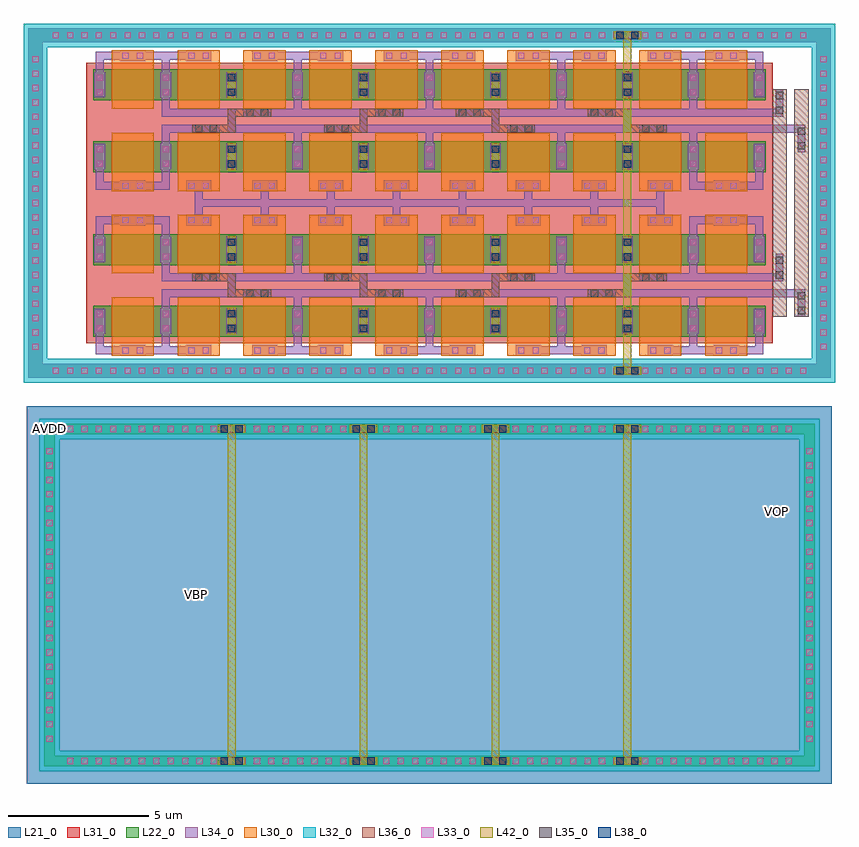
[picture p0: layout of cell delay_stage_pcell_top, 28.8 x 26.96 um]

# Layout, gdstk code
from math import pi, radians
import gdstk
lib = gdstk.Library(unit=1e-6, precision=5e-09)
def R(c, l, rs):  # rectangles x0, y0, x1, y1
    for r in rs: c.add(gdstk.rectangle(r[:2], r[2:], *l))
def A(c, l, x, y, w, h, nx, ny, dx, dy):  # array of equal rectangles
    R(c, l, [(x+i*dx, y+j*dy, x+i*dx+w, y+j*dy+h) for i in range(nx) for j in range(ny)])
L21_0 = (21, 0)
L22_0 = (22, 0)
L30_0 = (30, 0)
L31_0 = (31, 0)
L32_0 = (32, 0)
L33_0 = (33, 0)
L34_0 = (34, 0)
L35_0 = (35, 0)
L36_0 = (36, 0)
L38_0 = (38, 0)
L42_0 = (42, 0)

delay_stage_pcell_1_2_2 = lib.new_cell('delay_stage_pcell_1$2$2')
R(delay_stage_pcell_1_2_2, L22_0, [(0.17,0.3,0.63,1.4), (0.63,0.3,2.51,1.4), (2.51,0.3,2.97,1.4)])
R(delay_stage_pcell_1_2_2, L30_0, [(0.82,0,2.32,1.7)])
R(delay_stage_pcell_1_2_2, L33_0, [(0.29,0.485,0.51,0.705), (2.63,0.485,2.85,0.705), (0.29,0.995,0.51,1.215), (2.63,0.995,2.85,1.215)])
R(delay_stage_pcell_1_2_2, L34_0, [(0.21,0.405,0.59,1.295), (2.55,0.405,2.93,1.295)])

delay_stage_pcell_4_2 = lib.new_cell('delay_stage_pcell_4$2')
delay_stage_pcell_4_2.add(gdstk.Reference(delay_stage_pcell_1_2_2, (-0.17,0)))
delay_stage_pcell_4_2.add(gdstk.Reference(delay_stage_pcell_1_2_2, (2.17,0)))
delay_stage_pcell_4_2.add(gdstk.Reference(delay_stage_pcell_1_2_2, (4.51,0)))
delay_stage_pcell_4_2.add(gdstk.Reference(delay_stage_pcell_1_2_2, (6.85,0)))

delay_stage_pcell_4_4 = lib.new_cell('delay_stage_pcell_4_4')
R(delay_stage_pcell_4_4, L30_0, [(0.65,0,2.15,0.38), (0.65,0,2.15,0.38), (2.99,0,4.49,0.38), (2.99,0,4.49,0.38), (5.33,0,6.83,0.38), (5.33,0,6.83,0.38), (7.67,0,9.17,0.38), (7.67,0,9.17,0.38), (0.65,4.62,2.15,5), (0.65,4.62,2.15,5), (2.99,4.62,4.49,5), (2.99,4.62,4.49,5), (5.33,4.62,6.83,5), (5.33,4.62,6.83,5), (7.67,4.62,9.17,5), (7.67,4.62,9.17,5), (0.65,5.84,2.15,6.22), (0.65,5.84,2.15,6.22), (2.99,5.84,4.49,6.22), (2.99,5.84,4.49,6.22), (5.33,5.84,6.83,6.22), (5.33,5.84,6.83,6.22), (7.67,5.84,9.17,6.22), (7.67,5.84,9.17,6.22), (0.65,10.46,2.15,10.84), (0.65,10.46,2.15,10.84), (2.99,10.46,4.49,10.84), (2.99,10.46,4.49,10.84), (5.33,10.46,6.83,10.84), (5.33,10.46,6.83,10.84), (7.67,10.46,9.17,10.84), (7.67,10.46,9.17,10.84)])
R(delay_stage_pcell_4_4, L33_0, [(1.035,0.08,1.255,0.3), (1.035,0.08,1.255,0.3), (1.545,0.08,1.765,0.3), (1.545,0.08,1.765,0.3), (3.375,0.08,3.595,0.3), (3.375,0.08,3.595,0.3), (3.885,0.08,4.105,0.3), (3.885,0.08,4.105,0.3), (5.715,0.08,5.935,0.3), (5.715,0.08,5.935,0.3), (6.225,0.08,6.445,0.3), (6.225,0.08,6.445,0.3), (8.055,0.08,8.275,0.3), (8.055,0.08,8.275,0.3), (8.565,0.08,8.785,0.3), (8.565,0.08,8.785,0.3), (1.035,4.7,1.255,4.92), (1.035,4.7,1.255,4.92), (1.545,4.7,1.765,4.92), (1.545,4.7,1.765,4.92), (3.375,4.7,3.595,4.92), (3.375,4.7,3.595,4.92), (3.885,4.7,4.105,4.92), (3.885,4.7,4.105,4.92), (5.715,4.7,5.935,4.92), (5.715,4.7,5.935,4.92), (6.225,4.7,6.445,4.92), (6.225,4.7,6.445,4.92), (8.055,4.7,8.275,4.92), (8.055,4.7,8.275,4.92), (8.565,4.7,8.785,4.92), (8.565,4.7,8.785,4.92), (1.035,5.92,1.255,6.14), (1.035,5.92,1.255,6.14), (1.545,5.92,1.765,6.14), (1.545,5.92,1.765,6.14), (3.375,5.92,3.595,6.14), (3.375,5.92,3.595,6.14), (3.885,5.92,4.105,6.14), (3.885,5.92,4.105,6.14), (5.715,5.92,5.935,6.14), (5.715,5.92,5.935,6.14), (6.225,5.92,6.445,6.14), (6.225,5.92,6.445,6.14), (8.055,5.92,8.275,6.14), (8.055,5.92,8.275,6.14), (8.565,5.92,8.785,6.14), (8.565,5.92,8.785,6.14), (1.035,10.54,1.255,10.76), (1.035,10.54,1.255,10.76), (1.545,10.54,1.765,10.76), (1.545,10.54,1.765,10.76), (3.375,10.54,3.595,10.76), (3.375,10.54,3.595,10.76), (3.885,10.54,4.105,10.76), (3.885,10.54,4.105,10.76), (5.715,10.54,5.935,10.76), (5.715,10.54,5.935,10.76), (6.225,10.54,6.445,10.76), (6.225,10.54,6.445,10.76), (8.055,10.54,8.275,10.76), (8.055,10.54,8.275,10.76), (8.565,10.54,8.785,10.76), (8.565,10.54,8.785,10.76)])
R(delay_stage_pcell_4_4, L34_0, [(0.955,0,1.845,0.38), (3.295,0,4.185,0.38), (3.295,0,4.185,0.38), (5.635,0,6.525,0.38), (5.635,0,6.525,0.38), (7.975,0,8.865,0.38), (0.955,4.62,1.845,5), (0.955,4.62,1.845,5), (3.295,4.62,4.185,5), (3.295,4.62,4.185,5), (5.635,4.62,6.525,5), (5.635,4.62,6.525,5), (7.975,4.62,8.865,5), (0.955,5.84,1.845,6.22), (0.955,5.84,1.845,6.22), (3.295,5.84,4.185,6.22), (3.295,5.84,4.185,6.22), (5.635,5.84,6.525,6.22), (5.635,5.84,6.525,6.22), (7.975,5.84,8.865,6.22), (7.975,5.84,8.865,6.22), (0.955,10.46,1.845,10.84), (3.295,10.46,4.185,10.84), (3.295,10.46,4.185,10.84), (5.635,10.46,6.525,10.84), (5.635,10.46,6.525,10.84), (7.975,10.46,8.865,10.84)])
R(delay_stage_pcell_4_4, L35_0, [(2.44,0.84,2.7,1.1), (7.12,0.84,7.38,1.1), (2.44,1.36,2.7,1.62), (7.12,1.36,7.38,1.62), (1.27,2.09,1.53,2.35), (1.27,2.09,1.53,2.35), (1.79,2.09,2.05,2.35), (1.79,2.09,2.05,2.35), (5.95,2.09,6.21,2.35), (5.95,2.09,6.21,2.35), (6.47,2.09,6.73,2.35), (6.47,2.09,6.73,2.35), (3.09,2.65,3.35,2.91), (3.09,2.65,3.35,2.91), (3.61,2.65,3.87,2.91), (3.61,2.65,3.87,2.91), (7.77,2.65,8.03,2.91), (7.77,2.65,8.03,2.91), (8.29,2.65,8.55,2.91), (8.29,2.65,8.55,2.91), (2.44,3.38,2.7,3.64), (7.12,3.38,7.38,3.64), (2.44,3.9,2.7,4.16), (7.12,3.9,7.38,4.16), (2.44,6.68,2.7,6.94), (7.12,6.68,7.38,6.94), (2.44,7.2,2.7,7.46), (7.12,7.2,7.38,7.46), (3.09,7.93,3.35,8.19), (3.09,7.93,3.35,8.19), (3.61,7.93,3.87,8.19), (3.61,7.93,3.87,8.19), (7.77,7.93,8.03,8.19), (7.77,7.93,8.03,8.19), (8.29,7.93,8.55,8.19), (8.29,7.93,8.55,8.19), (1.27,8.49,1.53,8.75), (1.27,8.49,1.53,8.75), (1.79,8.49,2.05,8.75), (1.79,8.49,2.05,8.75), (5.95,8.49,6.21,8.75), (5.95,8.49,6.21,8.75), (6.47,8.49,6.73,8.75), (6.47,8.49,6.73,8.75), (2.44,9.22,2.7,9.48), (7.12,9.22,7.38,9.48), (2.44,9.74,2.7,10), (7.12,9.74,7.38,10)])
R(delay_stage_pcell_4_4, L38_0, [(2.44,0.84,2.7,1.1), (7.12,0.84,7.38,1.1), (2.44,1.36,2.7,1.62), (7.12,1.36,7.38,1.62), (2.44,3.38,2.7,3.64), (7.12,3.38,7.38,3.64), (2.44,3.9,2.7,4.16), (7.12,3.9,7.38,4.16), (2.44,6.68,2.7,6.94), (7.12,6.68,7.38,6.94), (2.44,7.2,2.7,7.46), (7.12,7.2,7.38,7.46), (2.44,9.22,2.7,9.48), (7.12,9.22,7.38,9.48), (2.44,9.74,2.7,10), (7.12,9.74,7.38,10)])
delay_stage_pcell_4_4.add(gdstk.FlexPath([(8.56,5.42),(0.23,5.42)], 0.28, ends="flush", simple_path=True, layer=34, datatype=0))  # L34_0
delay_stage_pcell_4_4.add(gdstk.FlexPath([(4.185,10.65),(5.635,10.65)], 0.28, ends="flush", simple_path=True, layer=34, datatype=0))  # L34_0
delay_stage_pcell_4_4.add(gdstk.FlexPath([(4.91,10.055),(4.91,10.51)], 0.28, ends="flush", simple_path=True, layer=34, datatype=0))  # L34_0
delay_stage_pcell_4_4.add(gdstk.FlexPath([(0.955,10.65),(0.23,10.65),(0.23,10.055)], 0.28, ends="flush", simple_path=True, layer=34, datatype=0))  # L34_0
delay_stage_pcell_4_4.add(gdstk.FlexPath([(8.865,10.65),(9.59,10.65),(9.59,10.055)], 0.28, ends="flush", simple_path=True, layer=34, datatype=0))  # L34_0
delay_stage_pcell_4_4.add(gdstk.FlexPath([(4.185,0.19),(5.635,0.19)], 0.28, ends="flush", simple_path=True, layer=34, datatype=0))  # L34_0
delay_stage_pcell_4_4.add(gdstk.FlexPath([(4.91,0.785),(4.91,0.33)], 0.28, ends="flush", simple_path=True, layer=34, datatype=0))  # L34_0
delay_stage_pcell_4_4.add(gdstk.FlexPath([(0.955,0.19),(0.23,0.19),(0.23,0.785)], 0.28, ends="flush", simple_path=True, layer=34, datatype=0))  # L34_0
delay_stage_pcell_4_4.add(gdstk.FlexPath([(8.865,0.19),(9.59,0.19),(9.59,0.785)], 0.28, ends="flush", simple_path=True, layer=34, datatype=0))  # L34_0
delay_stage_pcell_4_4.add(gdstk.FlexPath([(9.59,1.675),(9.59,2.22),(8.65,2.22)], 0.28, ends="flush", simple_path=True, layer=34, datatype=0))  # L34_0
delay_stage_pcell_4_4.add(gdstk.FlexPath([(9.59,1.675),(9.59,2.22),(8.65,2.22)], 0.28, ends="flush", simple_path=True, layer=34, datatype=0))  # L34_0
delay_stage_pcell_4_4.add(gdstk.FlexPath([(4.91,1.675),(4.91,2.08)], 0.28, ends="flush", simple_path=True, layer=34, datatype=0))  # L34_0
delay_stage_pcell_4_4.add(gdstk.FlexPath([(4.91,1.675),(4.91,2.08)], 0.28, ends="flush", simple_path=True, layer=34, datatype=0))  # L34_0
delay_stage_pcell_4_4.add(gdstk.FlexPath([(0.23,1.675),(0.23,2.22),(1.17,2.22)], 0.28, ends="flush", simple_path=True, layer=34, datatype=0))  # L34_0
delay_stage_pcell_4_4.add(gdstk.FlexPath([(0.23,1.675),(0.23,2.22),(1.17,2.22)], 0.28, ends="flush", simple_path=True, layer=34, datatype=0))  # L34_0
delay_stage_pcell_4_4.add(gdstk.FlexPath([(8.65,2.22),(7.25,2.22),(7.25,2.78),(5.85,2.78)], 0.28, ends="flush", simple_path=True, layer=34, datatype=0))  # L34_0
delay_stage_pcell_4_4.add(gdstk.FlexPath([(8.65,2.22),(7.25,2.22),(7.25,2.78),(5.85,2.78)], 0.28, ends="flush", simple_path=True, layer=34, datatype=0))  # L34_0
delay_stage_pcell_4_4.add(gdstk.FlexPath([(6.83,2.22),(5.85,2.22)], 0.28, ends="flush", simple_path=True, layer=34, datatype=0))  # L34_0
delay_stage_pcell_4_4.add(gdstk.FlexPath([(6.83,2.22),(5.85,2.22)], 0.28, ends="flush", simple_path=True, layer=34, datatype=0))  # L34_0
delay_stage_pcell_4_4.add(gdstk.FlexPath([(3.97,2.22),(5.85,2.22)], 0.28, ends="flush", simple_path=True, layer=34, datatype=0))  # L34_0
delay_stage_pcell_4_4.add(gdstk.FlexPath([(3.97,2.22),(5.85,2.22)], 0.28, ends="flush", simple_path=True, layer=34, datatype=0))  # L34_0
delay_stage_pcell_4_4.add(gdstk.FlexPath([(3.97,2.22),(2.57,2.22),(2.57,2.78),(1.17,2.78)], 0.28, ends="flush", simple_path=True, layer=34, datatype=0))  # L34_0
delay_stage_pcell_4_4.add(gdstk.FlexPath([(3.97,2.22),(2.57,2.22),(2.57,2.78),(1.17,2.78)], 0.28, ends="flush", simple_path=True, layer=34, datatype=0))  # L34_0
delay_stage_pcell_4_4.add(gdstk.FlexPath([(2.15,2.22),(1.17,2.22)], 0.28, ends="flush", simple_path=True, layer=34, datatype=0))  # L34_0
delay_stage_pcell_4_4.add(gdstk.FlexPath([(2.15,2.22),(1.17,2.22)], 0.28, ends="flush", simple_path=True, layer=34, datatype=0))  # L34_0
delay_stage_pcell_4_4.add(gdstk.FlexPath([(8.65,2.78),(7.67,2.78)], 0.28, ends="flush", simple_path=True, layer=34, datatype=0))  # L34_0
delay_stage_pcell_4_4.add(gdstk.FlexPath([(8.65,2.78),(7.67,2.78)], 0.28, ends="flush", simple_path=True, layer=34, datatype=0))  # L34_0
delay_stage_pcell_4_4.add(gdstk.FlexPath([(3.97,2.78),(5.85,2.78)], 0.28, ends="flush", simple_path=True, layer=34, datatype=0))  # L34_0
delay_stage_pcell_4_4.add(gdstk.FlexPath([(3.97,2.78),(5.85,2.78)], 0.28, ends="flush", simple_path=True, layer=34, datatype=0))  # L34_0
delay_stage_pcell_4_4.add(gdstk.FlexPath([(3.97,2.78),(2.99,2.78)], 0.28, ends="flush", simple_path=True, layer=34, datatype=0))  # L34_0
delay_stage_pcell_4_4.add(gdstk.FlexPath([(3.97,2.78),(2.99,2.78)], 0.28, ends="flush", simple_path=True, layer=34, datatype=0))  # L34_0
delay_stage_pcell_4_4.add(gdstk.FlexPath([(1.17,2.78),(0.23,2.78),(0.23,3.325)], 0.28, ends="flush", simple_path=True, layer=34, datatype=0))  # L34_0
delay_stage_pcell_4_4.add(gdstk.FlexPath([(1.17,2.78),(0.23,2.78),(0.23,3.325)], 0.28, ends="flush", simple_path=True, layer=34, datatype=0))  # L34_0
delay_stage_pcell_4_4.add(gdstk.FlexPath([(9.59,3.325),(9.59,2.78),(8.65,2.78)], 0.28, ends="flush", simple_path=True, layer=34, datatype=0))  # L34_0
delay_stage_pcell_4_4.add(gdstk.FlexPath([(9.59,3.325),(9.59,2.78),(8.65,2.78)], 0.28, ends="flush", simple_path=True, layer=34, datatype=0))  # L34_0
delay_stage_pcell_4_4.add(gdstk.FlexPath([(4.91,3.325),(4.91,2.92)], 0.28, ends="flush", simple_path=True, layer=34, datatype=0))  # L34_0
delay_stage_pcell_4_4.add(gdstk.FlexPath([(4.91,3.325),(4.91,2.92)], 0.28, ends="flush", simple_path=True, layer=34, datatype=0))  # L34_0
delay_stage_pcell_4_4.add(gdstk.FlexPath([(9.59,7.515),(9.59,8.06),(8.65,8.06)], 0.28, ends="flush", simple_path=True, layer=34, datatype=0))  # L34_0
delay_stage_pcell_4_4.add(gdstk.FlexPath([(9.59,9.165),(9.59,8.62),(8.65,8.62)], 0.28, ends="flush", simple_path=True, layer=34, datatype=0))  # L34_0
delay_stage_pcell_4_4.add(gdstk.FlexPath([(4.91,9.165),(4.91,8.76)], 0.28, ends="flush", simple_path=True, layer=34, datatype=0))  # L34_0
delay_stage_pcell_4_4.add(gdstk.FlexPath([(4.91,7.515),(4.91,7.92)], 0.28, ends="flush", simple_path=True, layer=34, datatype=0))  # L34_0
delay_stage_pcell_4_4.add(gdstk.FlexPath([(1.17,8.06),(0.23,8.06),(0.23,7.515)], 0.28, ends="flush", simple_path=True, layer=34, datatype=0))  # L34_0
delay_stage_pcell_4_4.add(gdstk.FlexPath([(0.23,9.165),(0.23,8.62),(1.17,8.62)], 0.28, ends="flush", simple_path=True, layer=34, datatype=0))  # L34_0
delay_stage_pcell_4_4.add(gdstk.FlexPath([(8.65,8.62),(7.25,8.62),(7.25,8.06),(5.85,8.06)], 0.28, ends="flush", simple_path=True, layer=34, datatype=0))  # L34_0
delay_stage_pcell_4_4.add(gdstk.FlexPath([(3.97,8.62),(2.57,8.62),(2.57,8.06),(1.17,8.06)], 0.28, ends="flush", simple_path=True, layer=34, datatype=0))  # L34_0
delay_stage_pcell_4_4.add(gdstk.FlexPath([(2.15,8.62),(1.17,8.62)], 0.28, ends="flush", simple_path=True, layer=34, datatype=0))  # L34_0
delay_stage_pcell_4_4.add(gdstk.FlexPath([(3.97,8.06),(2.99,8.06)], 0.28, ends="flush", simple_path=True, layer=34, datatype=0))  # L34_0
delay_stage_pcell_4_4.add(gdstk.FlexPath([(8.65,8.06),(7.67,8.06)], 0.28, ends="flush", simple_path=True, layer=34, datatype=0))  # L34_0
delay_stage_pcell_4_4.add(gdstk.FlexPath([(6.83,8.62),(5.85,8.62)], 0.28, ends="flush", simple_path=True, layer=34, datatype=0))  # L34_0
delay_stage_pcell_4_4.add(gdstk.FlexPath([(3.97,8.62),(5.85,8.62)], 0.28, ends="flush", simple_path=True, layer=34, datatype=0))  # L34_0
delay_stage_pcell_4_4.add(gdstk.FlexPath([(3.97,8.06),(5.85,8.06)], 0.28, ends="flush", simple_path=True, layer=34, datatype=0))  # L34_0
delay_stage_pcell_4_4.add(gdstk.FlexPath([(3.97,8.06),(5.85,8.06)], 0.28, ends="flush", simple_path=True, layer=34, datatype=0))  # L34_0
delay_stage_pcell_4_4.add(gdstk.FlexPath([(3.97,8.62),(5.85,8.62)], 0.28, ends="flush", simple_path=True, layer=34, datatype=0))  # L34_0
delay_stage_pcell_4_4.add(gdstk.FlexPath([(6.83,8.62),(5.85,8.62)], 0.28, ends="flush", simple_path=True, layer=34, datatype=0))  # L34_0
delay_stage_pcell_4_4.add(gdstk.FlexPath([(8.65,8.06),(7.67,8.06)], 0.28, ends="flush", simple_path=True, layer=34, datatype=0))  # L34_0
delay_stage_pcell_4_4.add(gdstk.FlexPath([(3.97,8.06),(2.99,8.06)], 0.28, ends="flush", simple_path=True, layer=34, datatype=0))  # L34_0
delay_stage_pcell_4_4.add(gdstk.FlexPath([(2.15,8.62),(1.17,8.62)], 0.28, ends="flush", simple_path=True, layer=34, datatype=0))  # L34_0
delay_stage_pcell_4_4.add(gdstk.FlexPath([(3.97,8.62),(2.57,8.62),(2.57,8.06),(1.17,8.06)], 0.28, ends="flush", simple_path=True, layer=34, datatype=0))  # L34_0
delay_stage_pcell_4_4.add(gdstk.FlexPath([(8.65,8.62),(7.25,8.62),(7.25,8.06),(5.85,8.06)], 0.28, ends="flush", simple_path=True, layer=34, datatype=0))  # L34_0
delay_stage_pcell_4_4.add(gdstk.FlexPath([(0.23,9.165),(0.23,8.62),(1.17,8.62)], 0.28, ends="flush", simple_path=True, layer=34, datatype=0))  # L34_0
delay_stage_pcell_4_4.add(gdstk.FlexPath([(1.17,8.06),(0.23,8.06),(0.23,7.515)], 0.28, ends="flush", simple_path=True, layer=34, datatype=0))  # L34_0
delay_stage_pcell_4_4.add(gdstk.FlexPath([(4.91,7.515),(4.91,7.92)], 0.28, ends="flush", simple_path=True, layer=34, datatype=0))  # L34_0
delay_stage_pcell_4_4.add(gdstk.FlexPath([(4.91,9.165),(4.91,8.76)], 0.28, ends="flush", simple_path=True, layer=34, datatype=0))  # L34_0
delay_stage_pcell_4_4.add(gdstk.FlexPath([(9.59,9.165),(9.59,8.62),(8.65,8.62)], 0.28, ends="flush", simple_path=True, layer=34, datatype=0))  # L34_0
delay_stage_pcell_4_4.add(gdstk.FlexPath([(9.59,7.515),(9.59,8.06),(8.65,8.06)], 0.28, ends="flush", simple_path=True, layer=34, datatype=0))  # L34_0
delay_stage_pcell_4_4.add(gdstk.FlexPath([(8.42,5),(8.42,5.28)], 0.28, ends="flush", simple_path=True, layer=34, datatype=0))  # L34_0
delay_stage_pcell_4_4.add(gdstk.FlexPath([(8.42,5.84),(8.42,5.56)], 0.28, ends="flush", simple_path=True, layer=34, datatype=0))  # L34_0
delay_stage_pcell_4_4.add(gdstk.FlexPath([(6.08,5),(6.08,5.28)], 0.28, ends="flush", simple_path=True, layer=34, datatype=0))  # L34_0
delay_stage_pcell_4_4.add(gdstk.FlexPath([(6.08,5.84),(6.08,5.56)], 0.28, ends="flush", simple_path=True, layer=34, datatype=0))  # L34_0
delay_stage_pcell_4_4.add(gdstk.FlexPath([(3.74,5),(3.74,5.28)], 0.28, ends="flush", simple_path=True, layer=34, datatype=0))  # L34_0
delay_stage_pcell_4_4.add(gdstk.FlexPath([(3.74,5.84),(3.74,5.56)], 0.28, ends="flush", simple_path=True, layer=34, datatype=0))  # L34_0
delay_stage_pcell_4_4.add(gdstk.FlexPath([(1.4,5),(1.4,5.28)], 0.28, ends="flush", simple_path=True, layer=34, datatype=0))  # L34_0
delay_stage_pcell_4_4.add(gdstk.FlexPath([(1.4,5.84),(1.4,5.56)], 0.28, ends="flush", simple_path=True, layer=34, datatype=0))  # L34_0
delay_stage_pcell_4_4.add(gdstk.FlexPath([(8.65,2.78),(7.25,2.78),(7.25,2.22),(5.85,2.22)], 0.28, ends="flush", simple_path=True, layer=36, datatype=0))  # L36_0
delay_stage_pcell_4_4.add(gdstk.FlexPath([(8.65,2.78),(7.25,2.78),(7.25,2.22),(5.85,2.22)], 0.28, ends="flush", simple_path=True, layer=36, datatype=0))  # L36_0
delay_stage_pcell_4_4.add(gdstk.FlexPath([(3.97,2.78),(2.57,2.78),(2.57,2.22),(1.17,2.22)], 0.28, ends="flush", simple_path=True, layer=36, datatype=0))  # L36_0
delay_stage_pcell_4_4.add(gdstk.FlexPath([(3.97,2.78),(2.57,2.78),(2.57,2.22),(1.17,2.22)], 0.28, ends="flush", simple_path=True, layer=36, datatype=0))  # L36_0
delay_stage_pcell_4_4.add(gdstk.FlexPath([(3.97,8.06),(2.57,8.06),(2.57,8.62),(1.17,8.62)], 0.28, ends="flush", simple_path=True, layer=36, datatype=0))  # L36_0
delay_stage_pcell_4_4.add(gdstk.FlexPath([(8.65,8.06),(7.25,8.06),(7.25,8.62),(5.85,8.62)], 0.28, ends="flush", simple_path=True, layer=36, datatype=0))  # L36_0
delay_stage_pcell_4_4.add(gdstk.FlexPath([(8.65,8.06),(7.25,8.06),(7.25,8.62),(5.85,8.62)], 0.28, ends="flush", simple_path=True, layer=36, datatype=0))  # L36_0
delay_stage_pcell_4_4.add(gdstk.FlexPath([(3.97,8.06),(2.57,8.06),(2.57,8.62),(1.17,8.62)], 0.28, ends="flush", simple_path=True, layer=36, datatype=0))  # L36_0
delay_stage_pcell_4_4.add(gdstk.FlexPath([(7.25,6.58),(7.25,7.56)], 0.28, ends="flush", simple_path=True, layer=36, datatype=0))  # L36_0
delay_stage_pcell_4_4.add(gdstk.FlexPath([(7.25,9.12),(7.25,10.1)], 0.28, ends="flush", simple_path=True, layer=36, datatype=0))  # L36_0
delay_stage_pcell_4_4.add(gdstk.FlexPath([(2.57,6.58),(2.57,7.56)], 0.28, ends="flush", simple_path=True, layer=36, datatype=0))  # L36_0
delay_stage_pcell_4_4.add(gdstk.FlexPath([(7.25,3.28),(7.25,4.26)], 0.28, ends="flush", simple_path=True, layer=36, datatype=0))  # L36_0
delay_stage_pcell_4_4.add(gdstk.FlexPath([(2.57,3.28),(2.57,4.26)], 0.28, ends="flush", simple_path=True, layer=36, datatype=0))  # L36_0
delay_stage_pcell_4_4.add(gdstk.FlexPath([(7.25,0.74),(7.25,1.72)], 0.28, ends="flush", simple_path=True, layer=36, datatype=0))  # L36_0
delay_stage_pcell_4_4.add(gdstk.FlexPath([(2.57,0.74),(2.57,1.72)], 0.28, ends="flush", simple_path=True, layer=36, datatype=0))  # L36_0
delay_stage_pcell_4_4.add(gdstk.FlexPath([(2.57,9.12),(2.57,10.1)], 0.28, ends="flush", simple_path=True, layer=36, datatype=0))  # L36_0
delay_stage_pcell_4_4.add(gdstk.FlexPath([(7.25,6.58),(7.25,7.56)], 0.28, ends="flush", simple_path=True, layer=42, datatype=0))  # L42_0
delay_stage_pcell_4_4.add(gdstk.FlexPath([(7.25,9.12),(7.25,10.1)], 0.28, ends="flush", simple_path=True, layer=42, datatype=0))  # L42_0
delay_stage_pcell_4_4.add(gdstk.FlexPath([(2.57,6.58),(2.57,7.56)], 0.28, ends="flush", simple_path=True, layer=42, datatype=0))  # L42_0
delay_stage_pcell_4_4.add(gdstk.FlexPath([(7.25,3.28),(7.25,4.26)], 0.28, ends="flush", simple_path=True, layer=42, datatype=0))  # L42_0
delay_stage_pcell_4_4.add(gdstk.FlexPath([(2.57,3.28),(2.57,4.26)], 0.28, ends="flush", simple_path=True, layer=42, datatype=0))  # L42_0
delay_stage_pcell_4_4.add(gdstk.FlexPath([(7.25,0.74),(7.25,1.72)], 0.28, ends="flush", simple_path=True, layer=42, datatype=0))  # L42_0
delay_stage_pcell_4_4.add(gdstk.FlexPath([(2.57,0.74),(2.57,1.72)], 0.28, ends="flush", simple_path=True, layer=42, datatype=0))  # L42_0
delay_stage_pcell_4_4.add(gdstk.FlexPath([(2.57,9.12),(2.57,10.1)], 0.28, ends="flush", simple_path=True, layer=42, datatype=0))  # L42_0
delay_stage_pcell_4_4.add(gdstk.Reference(delay_stage_pcell_4_2, (9.82,7.92), rotation=pi))
delay_stage_pcell_4_4.add(gdstk.Reference(delay_stage_pcell_4_2, (9.82,2.08), rotation=pi))
delay_stage_pcell_4_4.add(gdstk.Reference(delay_stage_pcell_4_2, (9.82,8.76), rotation=pi, x_reflection=True))
delay_stage_pcell_4_4.add(gdstk.Reference(delay_stage_pcell_4_2, (9.82,2.92), rotation=pi, x_reflection=True))

delay_stage_pcell_1_1 = lib.new_cell('delay_stage_pcell_1$1')
R(delay_stage_pcell_1_1, L22_0, [(0.17,0.3,0.63,1.4), (0.63,0.3,2.51,1.4), (2.51,0.3,2.97,1.4)])
R(delay_stage_pcell_1_1, L30_0, [(0.82,0,2.32,1.7)])
R(delay_stage_pcell_1_1, L33_0, [(0.29,0.485,0.51,0.705), (2.63,0.485,2.85,0.705), (0.29,0.995,0.51,1.215), (2.63,0.995,2.85,1.215)])
R(delay_stage_pcell_1_1, L34_0, [(0.21,0.405,0.59,1.295), (2.55,0.405,2.93,1.295)])

delay_stage_pcell_1_4 = lib.new_cell('delay_stage_pcell_1_4')
R(delay_stage_pcell_1_4, L30_0, [(0.65,0,2.15,0.38), (0.65,4.62,2.15,5), (0.65,5.84,2.15,6.22), (0.65,10.46,2.15,10.84)])
R(delay_stage_pcell_1_4, L33_0, [(1.035,0.08,1.255,0.3), (1.545,0.08,1.765,0.3), (1.035,4.7,1.255,4.92), (1.545,4.7,1.765,4.92), (1.035,5.92,1.255,6.14), (1.545,5.92,1.765,6.14), (1.035,10.54,1.255,10.76), (1.545,10.54,1.765,10.76)])
R(delay_stage_pcell_1_4, L34_0, [(0.955,0,1.845,0.38), (0.955,4.62,1.845,5), (0.955,5.84,1.845,6.22), (0.955,10.46,1.845,10.84)])
delay_stage_pcell_1_4.add(gdstk.FlexPath([(2.57,10.055),(2.57,10.65),(0.23,10.65),(0.23,10.055)], 0.28, ends="flush", simple_path=True, layer=34, datatype=0))  # L34_0
delay_stage_pcell_1_4.add(gdstk.FlexPath([(2.57,0.785),(2.57,0.19),(0.23,0.19),(0.23,0.785)], 0.28, ends="flush", simple_path=True, layer=34, datatype=0))  # L34_0
delay_stage_pcell_1_4.add(gdstk.FlexPath([(2.57,6.625),(2.57,6.03),(0.23,6.03),(0.23,6.625)], 0.28, ends="flush", simple_path=True, layer=34, datatype=0))  # L34_0
delay_stage_pcell_1_4.add(gdstk.FlexPath([(2.57,4.215),(2.57,4.81),(0.23,4.81),(0.23,4.215)], 0.28, ends="flush", simple_path=True, layer=34, datatype=0))  # L34_0
delay_stage_pcell_1_4.add(gdstk.Reference(delay_stage_pcell_1_1, (-0.17,6.22)))
delay_stage_pcell_1_4.add(gdstk.Reference(delay_stage_pcell_1_1, (-0.17,0.38)))
delay_stage_pcell_1_4.add(gdstk.Reference(delay_stage_pcell_1_1, (-0.17,2.92)))
delay_stage_pcell_1_4.add(gdstk.Reference(delay_stage_pcell_1_1, (-0.17,8.76)))

m1_m2 = lib.new_cell('M1_M2')
R(m1_m2, L35_0, [(0.1,0.01,0.36,0.27), (0.62,0.01,0.88,0.27)])
m1_m2.add(gdstk.FlexPath([(0,0.14),(0.98,0.14)], 0.28, ends="flush", simple_path=True, layer=34, datatype=0))  # L34_0
m1_m2.add(gdstk.FlexPath([(0,0.14),(0.98,0.14)], 0.28, ends="flush", simple_path=True, layer=36, datatype=0))  # L36_0

delay_stage_pcell_top = lib.new_cell('delay_stage_pcell_top')
R(delay_stage_pcell_top, L21_0, [(0,0,28.565,13.38)])
R(delay_stage_pcell_top, L31_0, [(2.115,15.615,26.455,25.575)])
A(delay_stage_pcell_top, L33_0, 1.425, 0.69, 0.22, 0.22, 51, 2, 0.51, 11.78)
A(delay_stage_pcell_top, L33_0, 0.695, 1.48, 0.22, 0.22, 1, 21, 0, 0.51)
A(delay_stage_pcell_top, L33_0, 27.655, 1.48, 0.22, 0.22, 1, 21, 0, 0.51)
A(delay_stage_pcell_top, L33_0, 0.915, 14.535, 0.22, 0.22, 53, 2, 0.51, 11.9)
A(delay_stage_pcell_top, L33_0, 0.195, 15.385, 0.22, 0.22, 1, 21, 0, 0.51)
A(delay_stage_pcell_top, L33_0, 28.155, 15.385, 0.22, 0.22, 1, 21, 0, 0.51)
R(delay_stage_pcell_top, L35_0, [(6.875,0.67,7.135,0.93), (7.395,0.67,7.655,0.93), (11.555,0.67,11.815,0.93), (12.075,0.67,12.335,0.93), (16.235,0.67,16.495,0.93), (16.755,0.67,17.015,0.93), (20.915,0.67,21.175,0.93), (21.435,0.67,21.695,0.93), (6.875,12.45,7.135,12.71), (7.395,12.45,7.655,12.71), (11.555,12.45,11.815,12.71), (12.075,12.45,12.335,12.71), (16.235,12.45,16.495,12.71), (16.755,12.45,17.015,12.71), (20.915,12.45,21.175,12.71), (21.435,12.45,21.695,12.71), (20.915,14.515,21.175,14.775), (21.435,14.515,21.695,14.775), (27.355,16.655,27.615,16.915), (27.355,16.655,27.615,16.915), (27.355,17.175,27.615,17.435), (27.355,17.175,27.615,17.435), (26.575,17.915,26.835,18.175), (26.575,17.915,26.835,18.175), (26.575,18.435,26.835,18.695), (26.575,18.435,26.835,18.695), (27.355,22.495,27.615,22.755), (27.355,22.495,27.615,22.755), (27.355,23.015,27.615,23.275), (27.355,23.015,27.615,23.275), (20.915,26.415,21.175,26.675), (21.435,26.415,21.695,26.675)])
R(delay_stage_pcell_top, L38_0, [(6.875,0.67,7.135,0.93), (7.395,0.67,7.655,0.93), (11.555,0.67,11.815,0.93), (12.075,0.67,12.335,0.93), (16.235,0.67,16.495,0.93), (16.755,0.67,17.015,0.93), (20.915,0.67,21.175,0.93), (21.435,0.67,21.695,0.93), (6.875,12.45,7.135,12.71), (7.395,12.45,7.655,12.71), (11.555,12.45,11.815,12.71), (12.075,12.45,12.335,12.71), (16.235,12.45,16.495,12.71), (16.755,12.45,17.015,12.71), (20.915,12.45,21.175,12.71), (21.435,12.45,21.695,12.71), (20.915,14.515,21.175,14.775), (21.435,14.515,21.695,14.775), (20.915,26.415,21.175,26.675), (21.435,26.415,21.695,26.675)])
delay_stage_pcell_top.add(gdstk.FlexPath([(23.785,17.955),(26.735,17.955)], 0.28, ends="flush", simple_path=True, layer=34, datatype=0))  # L34_0
delay_stage_pcell_top.add(gdstk.FlexPath([(23.785,17.395),(27.345,17.395)], 0.28, ends="flush", simple_path=True, layer=34, datatype=0))  # L34_0
delay_stage_pcell_top.add(gdstk.FlexPath([(27.485,16.555),(27.485,17.535)], 0.28, ends="flush", simple_path=True, layer=34, datatype=0))  # L34_0
delay_stage_pcell_top.add(gdstk.FlexPath([(27.485,16.555),(27.485,17.535)], 0.28, ends="flush", simple_path=True, layer=34, datatype=0))  # L34_0
delay_stage_pcell_top.add(gdstk.FlexPath([(26.705,17.815),(26.705,18.795)], 0.28, ends="flush", simple_path=True, layer=34, datatype=0))  # L34_0
delay_stage_pcell_top.add(gdstk.FlexPath([(26.705,17.815),(26.705,18.795)], 0.28, ends="flush", simple_path=True, layer=34, datatype=0))  # L34_0
delay_stage_pcell_top.add(gdstk.FlexPath([(23.785,23.795),(26.565,23.795)], 0.28, ends="flush", simple_path=True, layer=34, datatype=0))  # L34_0
delay_stage_pcell_top.add(gdstk.FlexPath([(23.785,23.235),(27.345,23.235)], 0.28, ends="flush", simple_path=True, layer=34, datatype=0))  # L34_0
delay_stage_pcell_top.add(gdstk.FlexPath([(27.485,22.395),(27.485,23.375)], 0.28, ends="flush", simple_path=True, layer=34, datatype=0))  # L34_0
delay_stage_pcell_top.add(gdstk.FlexPath([(27.485,22.395),(27.485,23.375)], 0.28, ends="flush", simple_path=True, layer=34, datatype=0))  # L34_0
delay_stage_pcell_top.add(gdstk.FlexPath([(28.265,26.795),(28.265,14.645),(0.305,14.645),(0.305,26.545),(28.015,26.545)], 0.5, ends="flush", simple_path=True, layer=34, datatype=0))  # L34_0
delay_stage_pcell_top.add(gdstk.FlexPath([(28.265,26.795),(28.265,14.645),(0.305,14.645),(0.305,26.545),(28.015,26.545)], 0.5, ends="flush", simple_path=True, layer=22, datatype=0))  # L22_0
delay_stage_pcell_top.add(gdstk.FlexPath([(27.765,12.77),(27.765,0.8),(0.805,0.8),(0.805,12.58),(27.575,12.58)], 0.38, ends="flush", simple_path=True, layer=22, datatype=0))  # L22_0
delay_stage_pcell_top.add(gdstk.FlexPath([(26.705,16.555),(26.705,24.635)], 0.5, ends="flush", simple_path=True, layer=36, datatype=0))  # L36_0
delay_stage_pcell_top.add(gdstk.FlexPath([(27.485,16.555),(27.485,24.635)], 0.5, ends="flush", simple_path=True, layer=36, datatype=0))  # L36_0
delay_stage_pcell_top.add(gdstk.FlexPath([(20.815,14.645),(21.795,14.645)], 0.28, ends="flush", simple_path=True, layer=36, datatype=0))  # L36_0
delay_stage_pcell_top.add(gdstk.FlexPath([(20.815,26.545),(21.795,26.545)], 0.28, ends="flush", simple_path=True, layer=36, datatype=0))  # L36_0
delay_stage_pcell_top.add(gdstk.FlexPath([(20.815,0.8),(21.795,0.8)], 0.28, ends="flush", simple_path=True, layer=36, datatype=0))  # L36_0
delay_stage_pcell_top.add(gdstk.FlexPath([(20.815,12.58),(21.795,12.58)], 0.28, ends="flush", simple_path=True, layer=36, datatype=0))  # L36_0
delay_stage_pcell_top.add(gdstk.FlexPath([(16.135,0.8),(17.115,0.8)], 0.28, ends="flush", simple_path=True, layer=36, datatype=0))  # L36_0
delay_stage_pcell_top.add(gdstk.FlexPath([(16.135,12.58),(17.115,12.58)], 0.28, ends="flush", simple_path=True, layer=36, datatype=0))  # L36_0
delay_stage_pcell_top.add(gdstk.FlexPath([(11.455,0.8),(12.435,0.8)], 0.28, ends="flush", simple_path=True, layer=36, datatype=0))  # L36_0
delay_stage_pcell_top.add(gdstk.FlexPath([(11.455,12.58),(12.435,12.58)], 0.28, ends="flush", simple_path=True, layer=36, datatype=0))  # L36_0
delay_stage_pcell_top.add(gdstk.FlexPath([(6.775,0.8),(7.755,0.8)], 0.28, ends="flush", simple_path=True, layer=36, datatype=0))  # L36_0
delay_stage_pcell_top.add(gdstk.FlexPath([(6.775,12.58),(7.755,12.58)], 0.28, ends="flush", simple_path=True, layer=36, datatype=0))  # L36_0
delay_stage_pcell_top.add(gdstk.FlexPath([(21.305,26.405),(21.305,14.785)], 0.28, ends="flush", simple_path=True, layer=42, datatype=0))  # L42_0
delay_stage_pcell_top.add(gdstk.FlexPath([(20.815,14.645),(21.795,14.645)], 0.28, ends="flush", simple_path=True, layer=42, datatype=0))  # L42_0
delay_stage_pcell_top.add(gdstk.FlexPath([(20.815,26.545),(21.795,26.545)], 0.28, ends="flush", simple_path=True, layer=42, datatype=0))  # L42_0
delay_stage_pcell_top.add(gdstk.FlexPath([(21.305,12.44),(21.305,0.94)], 0.28, ends="flush", simple_path=True, layer=42, datatype=0))  # L42_0
delay_stage_pcell_top.add(gdstk.FlexPath([(20.815,0.8),(21.795,0.8)], 0.28, ends="flush", simple_path=True, layer=42, datatype=0))  # L42_0
delay_stage_pcell_top.add(gdstk.FlexPath([(20.815,12.58),(21.795,12.58)], 0.28, ends="flush", simple_path=True, layer=42, datatype=0))  # L42_0
delay_stage_pcell_top.add(gdstk.FlexPath([(16.625,12.44),(16.625,0.94)], 0.28, ends="flush", simple_path=True, layer=42, datatype=0))  # L42_0
delay_stage_pcell_top.add(gdstk.FlexPath([(16.135,0.8),(17.115,0.8)], 0.28, ends="flush", simple_path=True, layer=42, datatype=0))  # L42_0
delay_stage_pcell_top.add(gdstk.FlexPath([(16.135,12.58),(17.115,12.58)], 0.28, ends="flush", simple_path=True, layer=42, datatype=0))  # L42_0
delay_stage_pcell_top.add(gdstk.FlexPath([(11.945,12.44),(11.945,0.94)], 0.28, ends="flush", simple_path=True, layer=42, datatype=0))  # L42_0
delay_stage_pcell_top.add(gdstk.FlexPath([(11.455,0.8),(12.435,0.8)], 0.28, ends="flush", simple_path=True, layer=42, datatype=0))  # L42_0
delay_stage_pcell_top.add(gdstk.FlexPath([(11.455,12.58),(12.435,12.58)], 0.28, ends="flush", simple_path=True, layer=42, datatype=0))  # L42_0
delay_stage_pcell_top.add(gdstk.FlexPath([(7.265,12.44),(7.265,0.94)], 0.28, ends="flush", simple_path=True, layer=42, datatype=0))  # L42_0
delay_stage_pcell_top.add(gdstk.FlexPath([(6.775,0.8),(7.755,0.8)], 0.28, ends="flush", simple_path=True, layer=42, datatype=0))  # L42_0
delay_stage_pcell_top.add(gdstk.FlexPath([(6.775,12.58),(7.755,12.58)], 0.28, ends="flush", simple_path=True, layer=42, datatype=0))  # L42_0
delay_stage_pcell_top.add(gdstk.FlexPath([(28.265,26.965),(28.265,14.645),(0.305,14.645),(0.305,26.545),(28.685,26.545)], 0.84, ends="flush", simple_path=True, layer=32, datatype=0))  # L32_0
delay_stage_pcell_top.add(gdstk.FlexPath([(27.765,12.94),(27.765,0.8),(0.805,0.8),(0.805,12.58),(27.575,12.58)], 0.72, ends="flush", simple_path=True, layer=32, datatype=0))  # L32_0
delay_stage_pcell_top.add(gdstk.Reference(delay_stage_pcell_4_4, (14.515,15.175), rotation=pi, x_reflection=True))
delay_stage_pcell_top.add(gdstk.Reference(delay_stage_pcell_4_4, (14.055,15.175)))
delay_stage_pcell_top.add(gdstk.Reference(delay_stage_pcell_1_4, (26.215,15.175), rotation=pi, x_reflection=True))
delay_stage_pcell_top.add(gdstk.Reference(delay_stage_pcell_1_4, (5.155,15.175), rotation=pi, x_reflection=True))
delay_stage_pcell_top.add(gdstk.Reference(m1_m2, (26.565,24.635), rotation=3*pi/2))
delay_stage_pcell_top.add(gdstk.Label('AVDD', (0.805,12.58), layer=34, texttype=10))
delay_stage_pcell_top.add(gdstk.Label('VBP', (6.005,6.69), layer=34, texttype=10))
delay_stage_pcell_top.add(gdstk.Label('VOP', (26.595,9.64), layer=36, texttype=10))
delay_stage_pcell_top.add(gdstk.Label('VON', (27.155,9.68), layer=36, texttype=10))

lib.write_gds('delay_stage_pcell_top.gds')
